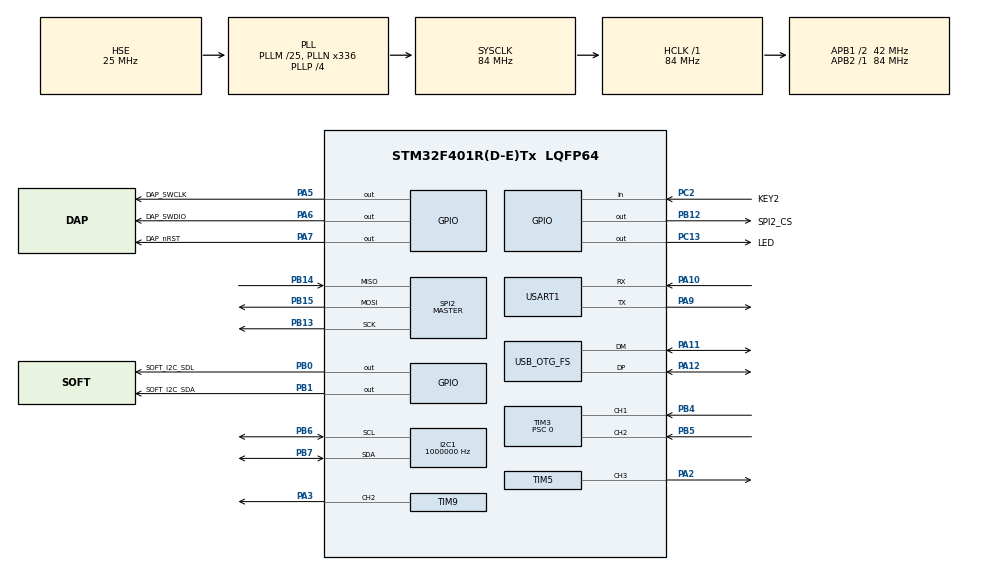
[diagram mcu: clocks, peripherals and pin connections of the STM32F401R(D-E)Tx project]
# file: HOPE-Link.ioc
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Dma.Request0=TIM5_CH3/UP
Dma.TIM5_CH3/UP.0.Direction=DMA_MEMORY_TO_PERIPH
Dma.TIM5_CH3/UP.0.FIFOMode=DMA_FIFOMODE_DISABLE
Dma.TIM5_CH3/UP.0.Instance=DMA1_Stream0
Dma.TIM5_CH3/UP.0.MemDataAlignment=DMA_MDATAALIGN_WORD
Dma.TIM5_CH3/UP.0.MemInc=DMA_MINC_ENABLE
Dma.TIM5_CH3/UP.0.Mode=DMA_NORMAL
Dma.TIM5_CH3/UP.0.PeriphDataAlignment=DMA_PDATAALIGN_WORD
Dma.TIM5_CH3/UP.0.PeriphInc=DMA_PINC_DISABLE
Dma.TIM5_CH3/UP.0.Priority=DMA_PRIORITY_HIGH
FATFS._CODE_PAGE=850
FATFS._FS_EXFAT=1
FATFS._MAX_SS=4096
FATFS._MIN_SS=4096
FATFS._USE_LFN=2
I2C1.ClockSpeed=1000000
I2C1.I2C_Mode=I2C_Fast
Mcu.Family=STM32F4
Mcu.Name=STM32F401R(D-E)Tx
Mcu.Package=LQFP64
NVIC.DMA1_Stream0_IRQn=true\:0\:0\:false\:false\:true\:false\:true\:true
NVIC.OTG_FS_IRQn=true\:0\:0\:false\:false\:true\:false\:true\:true
NVIC.PriorityGroup=NVIC_PRIORITYGROUP_4
NVIC.TIM4_IRQn=true\:2\:0\:true\:false\:true\:true\:true\:true
NVIC.USART1_IRQn=true\:0\:0\:false\:false\:true\:true\:true\:true
PA10.Mode=Asynchronous
PA10.Signal=USART1_RX
PA11.Mode=Device_Only
PA11.Signal=USB_OTG_FS_DM
PA12.Mode=Device_Only
PA12.Signal=USB_OTG_FS_DP
PA13.Mode=Serial_Wire
PA13.Signal=SYS_JTMS-SWDIO
PA14.Mode=Serial_Wire
PA14.Signal=SYS_JTCK-SWCLK
PA2.Signal=S_TIM5_CH3
PA3.Signal=S_TIM9_CH2
PA5.GPIO_Label=DAP_SWCLK
PA5.GPIO_ModeDefaultOutputPP=GPIO_MODE_OUTPUT_PP
PA5.GPIO_Speed=GPIO_SPEED_FREQ_HIGH
PA5.PinState=GPIO_PIN_RESET
PA5.Signal=GPIO_Output
PA6.GPIO_Label=DAP_SWDIO
PA6.GPIO_ModeDefaultOutputPP=GPIO_MODE_OUTPUT_PP
PA6.GPIO_PuPd=GPIO_NOPULL
PA6.GPIO_Speed=GPIO_SPEED_FREQ_HIGH
PA6.Signal=GPIO_Output
PA7.GPIO_Label=DAP_nRST
PA7.GPIO_ModeDefaultOutputPP=GPIO_MODE_OUTPUT_OD
PA7.GPIO_PuPd=GPIO_NOPULL
PA7.GPIO_Speed=GPIO_SPEED_FREQ_HIGH
PA7.Signal=GPIO_Output
PA9.Mode=Asynchronous
PA9.Signal=USART1_TX
PB0.GPIO_Label=SOFT_I2C_SDL
PB0.GPIO_ModeDefaultOutputPP=GPIO_MODE_OUTPUT_OD
PB0.GPIO_PuPd=GPIO_PULLUP
PB0.GPIO_Speed=GPIO_SPEED_FREQ_VERY_HIGH
PB0.PinState=GPIO_PIN_SET
PB0.Signal=GPIO_Output
PB1.GPIO_Label=SOFT_I2C_SDA
PB1.GPIO_ModeDefaultOutputPP=GPIO_MODE_OUTPUT_OD
PB1.GPIO_PuPd=GPIO_PULLUP
PB1.GPIO_Speed=GPIO_SPEED_FREQ_VERY_HIGH
PB1.PinState=GPIO_PIN_SET
PB1.Signal=GPIO_Output
PB12.GPIO_Label=SPI2_CS
PB12.GPIO_Speed=GPIO_SPEED_FREQ_VERY_HIGH
PB12.PinState=GPIO_PIN_RESET
PB12.Signal=GPIO_Output
PB13.Mode=Full_Duplex_Master
PB13.Signal=SPI2_SCK
PB14.Mode=Full_Duplex_Master
PB14.Signal=SPI2_MISO
PB15.Mode=Full_Duplex_Master
PB15.Signal=SPI2_MOSI
PB4.Signal=S_TIM3_CH1
PB5.Signal=S_TIM3_CH2
PB6.Mode=I2C
PB6.Signal=I2C1_SCL
PB7.Mode=I2C
PB7.Signal=I2C1_SDA
PC13-ANTI_TAMP.GPIO_Label=LED
PC13-ANTI_TAMP.PinState=GPIO_PIN_SET
PC13-ANTI_TAMP.Signal=GPIO_Output
PC2.GPIO_Label=KEY2
PC2.GPIO_PuPd=GPIO_PULLUP
PC2.Signal=GPIO_Input
PH0\ -\ OSC_IN.Mode=HSE-External-Oscillator
PH0\ -\ OSC_IN.Signal=RCC_OSC_IN
PH1\ -\ OSC_OUT.Mode=HSE-External-Oscillator
PH1\ -\ OSC_OUT.Signal=RCC_OSC_OUT
ProjectManager.HeapSize=0x4000
ProjectManager.StackSize=0x4000
ProjectManager.TargetToolchain=MDK-ARM V5.32
RCC.48MHZClocksFreq_Value=48000000
RCC.AHBFreq_Value=84000000
RCC.APB1CLKDivider=RCC_HCLK_DIV2
RCC.APB1Freq_Value=42000000
RCC.APB1TimFreq_Value=84000000
RCC.APB2Freq_Value=84000000
RCC.APB2TimFreq_Value=84000000
RCC.CortexFreq_Value=84000000
RCC.HCLKFreq_Value=84000000
RCC.HSE_VALUE=25000000
RCC.HSI_VALUE=16000000
RCC.LSE_VALUE=32768
RCC.PLLM=25
RCC.PLLN=336
RCC.PLLP=RCC_PLLP_DIV4
RCC.PLLQ=7
RCC.SYSCLKFreq_VALUE=84000000
RCC.SYSCLKSource=RCC_SYSCLKSOURCE_PLLCLK
RCC.VCOOutputFreq_Value=336000000
SH.S_TIM3_CH1.0=TIM3_CH1,Encoder_Interface
SH.S_TIM3_CH2.0=TIM3_CH2,Encoder_Interface
SH.S_TIM5_CH3.0=TIM5_CH3,PWM Generation3 CH3
SH.S_TIM9_CH2.0=TIM9_CH2,PWM Generation2 CH2
SPI2.BaudRatePrescaler=SPI_BAUDRATEPRESCALER_16
SPI2.CLKPhase=SPI_PHASE_1EDGE
SPI2.CLKPolarity=SPI_POLARITY_LOW
SPI2.CRCCalculation=SPI_CRCCALCULATION_DISABLE
SPI2.Direction=SPI_DIRECTION_2LINES
SPI2.Mode=SPI_MODE_MASTER
SPI2.VirtualType=VM_MASTER
TIM1.AutoReloadPreload=TIM_AUTORELOAD_PRELOAD_ENABLE
TIM10.AutoReloadPreload=TIM_AUTORELOAD_PRELOAD_ENABLE
TIM11.AutoReloadPreload=TIM_AUTORELOAD_PRELOAD_ENABLE
TIM2.AutoReloadPreload=TIM_AUTORELOAD_PRELOAD_ENABLE
TIM2.Period=65535
TIM3.AutoReloadPreload=TIM_AUTORELOAD_PRELOAD_DISABLE
TIM3.ClockDivision=TIM_CLOCKDIVISION_DIV1
TIM3.EncoderMode=TIM_ENCODERMODE_TI1
TIM3.IC1Filter=8
TIM3.IC1Polarity=TIM_ICPOLARITY_RISING
TIM3.IC2Filter=15
TIM3.Prescaler=0
TIM4.AutoReloadPreload=TIM_AUTORELOAD_PRELOAD_ENABLE
TIM4.Period=10000 - 1
TIM4.Prescaler=84 - 1
TIM5.Channel-PWM\ Generation3\ CH3=TIM_CHANNEL_3
TIM5.Period=105 - 1
TIM5.Prescaler=1 - 1
TIM9.Channel-PWM\ Generation2\ CH2=TIM_CHANNEL_2
TIM9.Period=1000 - 1
TIM9.Prescaler=84 -1
USART1.VirtualMode=VM_ASYNC
USB_DEVICE.CLASS_NAME_FS=MSC
USB_DEVICE.MSC_MEDIA_PACKET-MSC_FS=4096
USB_DEVICE.VirtualMode-MSC_FS=Msc
USB_DEVICE.VirtualModeFS=Msc_FS
USB_OTG_FS.VirtualMode=Device_Only
VP_FATFS_VS_Generic.Mode=User_defined
VP_TIM10_VS_ClockSourceINT.Mode=Enable_Timer
VP_TIM11_VS_ClockSourceINT.Mode=Enable_Timer
VP_TIM1_VS_ClockSourceINT.Mode=Internal
VP_TIM2_VS_ClockSourceINT.Mode=Internal
VP_TIM4_VS_ClockSourceINT.Mode=Internal
VP_TIM5_VS_ClockSourceINT.Mode=Internal
VP_USB_DEVICE_VS_USB_DEVICE_MSC_FS.Mode=MSC_FS
board=custom

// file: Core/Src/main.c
/* USER CODE BEGIN Header */
/**
  ******************************************************************************
  * @file           : main.c
  * @brief          : Main program body
  ******************************************************************************
  * @attention
  *
  * Copyright (c) 2026 STMicroelectronics.
  * All rights reserved.
  *
  * This software is licensed under terms that can be found in the LICENSE file
  * in the root directory of this software component.
  * If no LICENSE file comes with this software, it is provided AS-IS.
  *
  ******************************************************************************
  */
/* USER CODE END Header */
#include "main.h"
#include "dma.h"
#include "fatfs.h"
#include "i2c.h"
#include "spi.h"
#include "tim.h"
#include "usart.h"
#include "usb_device.h"
#include "gpio.h"

/* USER CODE BEGIN Includes */
#include "common_inc.h"
#include "DAP.h"
#include "SWD_host.h"
#include "SWD_flash.h"
#include "interface_uart.h"
/* USER CODE END Includes */

/* USER CODE BEGIN PV */
uint64_t serialNumber;
char serialNumberStr[13];
/* USER CODE END PV */

void SystemClock_Config(void);

int main(void)
{
  /* USER CODE BEGIN 1 */

  // This procedure of building a USB serial number should be identical
  // to the way the STM's built-in USB bootloader does it. This means
  // that the device will have the same serial number in normal and DFU mode.
  uint32_t uuid0 = *(uint32_t *)(UID_BASE + 0);
  uint32_t uuid1 = *(uint32_t *)(UID_BASE + 4);
  uint32_t uuid2 = *(uint32_t *)(UID_BASE + 8);
  uint32_t uuid_mixed_part = uuid0 + uuid2;
  serialNumber = ((uint64_t)uuid_mixed_part << 16) | (uint64_t)(uuid1 >> 16);

  uint64_t val = serialNumber;
  for (size_t i = 0; i < 12; ++i)
  {
    serialNumberStr[i] = "0123456789ABCDEF"[(val >> (48 - 4)) & 0xf];
    val <<= 4;
  }
  serialNumberStr[12] = 0;

  /* USER CODE END 1 */

  /* MCU Configuration--------------------------------------------------------*/

  /* Reset of all peripherals, Initializes the Flash interface and the Systick. */
  HAL_Init();

  /* Configure the system clock */
  SystemClock_Config();

  /* Initialize all configured peripherals */
  MX_GPIO_Init();
  MX_DMA_Init();
  MX_USART1_UART_Init();
  MX_I2C1_Init();
  MX_SPI2_Init();
  MX_FATFS_Init();
  MX_USB_DEVICE_Init();
  MX_TIM4_Init();
  MX_TIM1_Init();
  MX_TIM2_Init();
  MX_TIM10_Init();
  MX_TIM11_Init();
  MX_TIM3_Init();
  MX_TIM9_Init();
  MX_TIM5_Init();
  /* USER CODE BEGIN 2 */

  // Invoke cpp-version main().
  Main();

  /* USER CODE END 2 */

  /* Infinite loop */
  while (1)
  {

  }
}

void SystemClock_Config(void)
{
  RCC_OscInitTypeDef RCC_OscInitStruct = {0};
  RCC_ClkInitTypeDef RCC_ClkInitStruct = {0};

  /** Configure the main internal regulator output voltage
  */
  __HAL_RCC_PWR_CLK_ENABLE();
  __HAL_PWR_VOLTAGESCALING_CONFIG(PWR_REGULATOR_VOLTAGE_SCALE2);

  /** Initializes the RCC Oscillators according to the specified parameters
  * in the RCC_OscInitTypeDef structure.
  */
  RCC_OscInitStruct.OscillatorType = RCC_OSCILLATORTYPE_HSE;
  RCC_OscInitStruct.HSEState = RCC_HSE_ON;
  RCC_OscInitStruct.PLL.PLLState = RCC_PLL_ON;
  RCC_OscInitStruct.PLL.PLLSource = RCC_PLLSOURCE_HSE;
  RCC_OscInitStruct.PLL.PLLM = 25;
  RCC_OscInitStruct.PLL.PLLN = 336;
  RCC_OscInitStruct.PLL.PLLP = RCC_PLLP_DIV4;
  RCC_OscInitStruct.PLL.PLLQ = 7;
  if (HAL_RCC_OscConfig(&RCC_OscInitStruct) != HAL_OK)
  {
    Error_Handler();
  }

  /** Initializes the CPU, AHB and APB buses clocks
  */
  RCC_ClkInitStruct.ClockType = RCC_CLOCKTYPE_HCLK|RCC_CLOCKTYPE_SYSCLK
                              |RCC_CLOCKTYPE_PCLK1|RCC_CLOCKTYPE_PCLK2;
  RCC_ClkInitStruct.SYSCLKSource = RCC_SYSCLKSOURCE_PLLCLK;
  RCC_ClkInitStruct.AHBCLKDivider = RCC_SYSCLK_DIV1;
  RCC_ClkInitStruct.APB1CLKDivider = RCC_HCLK_DIV2;
  RCC_ClkInitStruct.APB2CLKDivider = RCC_HCLK_DIV1;

  if (HAL_RCC_ClockConfig(&RCC_ClkInitStruct, FLASH_LATENCY_2) != HAL_OK)
  {
    Error_Handler();
  }
}

/* USER CODE BEGIN 4 */
void OnTimerCallback(TIM_TypeDef *timInstance);

 /**
  * @brief  Period elapsed callback in non blocking mode
  * @note   This function is called  when TIM6 interrupt took place, inside
  * HAL_TIM_IRQHandler(). It makes a direct call to HAL_IncTick() to increment
  * a global variable "uwTick" used as application time base.
  * @param  htim : TIM handle
  * @retval None
  */
void HAL_TIM_PeriodElapsedCallback(TIM_HandleTypeDef *htim)
{
  /* USER CODE BEGIN Callback 0 */
  OnTimerCallback(htim->Instance);

  /* USER CODE END Callback 0 */

  /* USER CODE BEGIN Callback 1 */

  /* USER CODE END Callback 1 */
}

/**
 * @brief  PWM Pulse finished callback in non-blocking mode
 * @param  htim TIM handle
 * @retval None
 */
void HAL_TIM_PWM_PulseFinishedCallback(TIM_HandleTypeDef *htim)
{
    if (htim == &htim5)
    {
      // WS2812B PWM finished, stop DMA
      HAL_TIM_PWM_Stop_DMA(&htim5, TIM_CHANNEL_3);
    }
}
/* USER CODE END 4 */

void Error_Handler(void)
{
  __disable_irq();
  while (1)
  {
  }
}
